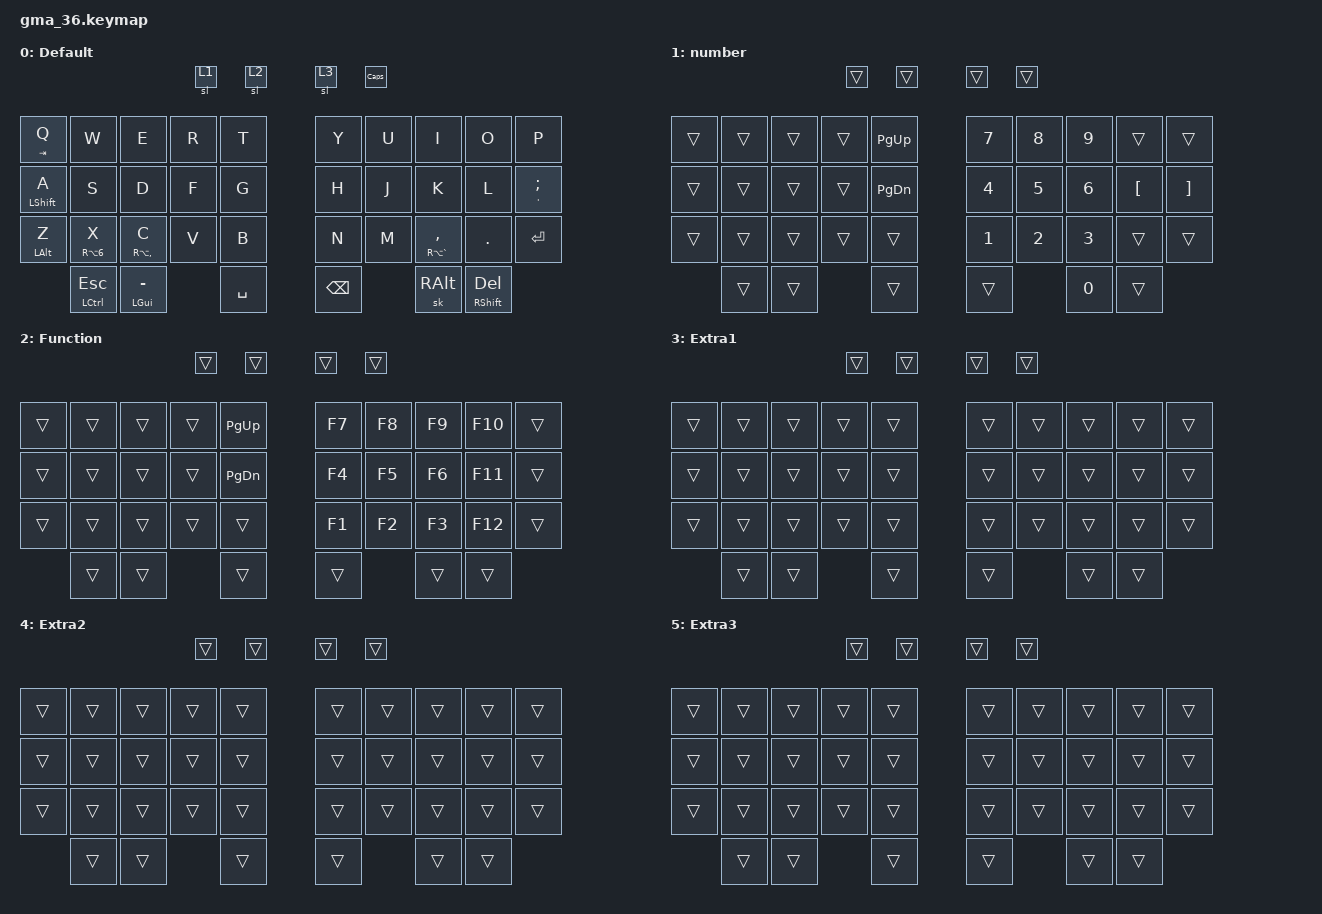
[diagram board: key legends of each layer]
#include <behaviors.dtsi>
#include <dt-bindings/zmk/keys.h>
#include <dt-bindings/zmk/bt.h>


#define COMBO(NAME, BINDINGS, KEYPOS) \
  combo_##NAME { \
    timeout-ms = <50>; \
    bindings = <BINDINGS>; \
    key-positions = <KEYPOS>; \
    layers = <0>; \
  };

/ {

        behaviors {
                hm: homerow_mods {
                        compatible = "zmk,behavior-hold-tap";
                        label = "HOMEROW_MODS";
                        #binding-cells = <2>;
                        tapping_term_ms = <190>;
                        quick-tap-ms = <175>;
                        flavor = "tap-preferred";
                        bindings = <&kp>, <&kp>;
                };
        };

        combos {
                compatible = "zmk,combos";
                      
                COMBO(up, &kp UP, 6 7)
                COMBO(home, &kp HOME, 5 6)
                COMBO(end, &kp END, 7 8)
                COMBO(dw, &kp LEFT, 15 16)
                COMBO(lf, &kp RIGHT, 17 18)
                COMBO(rt, &kp DOWN, 16 17)
                COMBO(number, &tog 1, 34 35)
                COMBO(Function, &tog 2, 32 37)
     
        };

    keymap {
        compatible = "zmk,keymap";

        default_layer {
            display-name = "Default";

            bindings =<
                &hm TAB Q     &kp W    &kp E       &kp R &kp T                  &kp Y &kp U    &kp I     &kp O    &kp P
                &hm LSHIFT A  &kp S    &kp D       &kp F &kp G                  &kp H &kp J    &kp K     &kp L    &hm APOS SEMI
                &hm LALT Z  &hm RA(N6) X &mt RA(COMMA) C  &kp V &kp B           &kp N &kp M    &hm RA(GRAVE) COMMA &kp DOT  &kp ENTER
                &sl 1    &sl 2    &hm LCTRL ESC  &hm LGUI MINUS &kp SPACE   &kp BSPC &sk RALT &hm RSHIFT DEL     &sl 3 &kp CAPS
            >;
        };

        number_layer {
            display-name = "number";

            bindings =<
                &trans  &trans  &trans  &trans  &kp PG_UP       &kp N7  &kp N8  &kp N9  &trans  &trans
                &trans  &trans  &trans  &trans  &kp PG_DN       &kp N4  &kp N5  &kp N6  &kp LBKT  &kp RBKT
                &trans  &trans  &trans  &trans  &trans          &kp N1  &kp N2  &kp N3  &trans  &trans
                &trans  &trans  &trans  &trans  &trans          &trans  &kp N0  &trans  &trans  &trans
            >;
        };

        function_layer {
            display-name = "Function";

            bindings =<
                &trans  &trans  &trans  &trans  &kp PG_UP       &kp F7  &kp F8  &kp F9  &kp F10  &trans
                &trans  &trans  &trans  &trans  &kp PG_DN       &kp F4  &kp F5  &kp F6  &kp F11  &trans
                &trans  &trans  &trans  &trans  &trans          &kp F1  &kp F2  &kp F3  &kp F12  &trans
                &trans  &trans  &trans  &trans  &trans          &trans  &trans  &trans  &trans  &trans
            >;
        };

        extra_layer1 {
            display-name = "Extra1";

            bindings =<
                &trans  &trans  &trans  &trans  &trans          &trans  &trans  &trans  &trans  &trans
                &trans  &trans  &trans  &trans  &trans          &trans  &trans  &trans  &trans  &trans
                &trans  &trans  &trans  &trans  &trans          &trans  &trans  &trans  &trans  &trans
                &trans  &trans  &trans  &trans  &trans          &trans  &trans  &trans  &trans  &trans
            >;
        };
        extra_layer2 {
            display-name = "Extra2";

            bindings =<
                &trans  &trans  &trans  &trans  &trans          &trans  &trans  &trans  &trans  &trans
                &trans  &trans  &trans  &trans  &trans          &trans  &trans  &trans  &trans  &trans
                &trans  &trans  &trans  &trans  &trans          &trans  &trans  &trans  &trans  &trans
                &trans  &trans  &trans  &trans  &trans          &trans  &trans  &trans  &trans  &trans
            >;
        };
        extra_layer3 {
            display-name = "Extra3";

            bindings =<
                &trans  &trans  &trans  &trans  &trans          &trans  &trans  &trans  &trans  &trans
                &trans  &trans  &trans  &trans  &trans          &trans  &trans  &trans  &trans  &trans
                &trans  &trans  &trans  &trans  &trans          &trans  &trans  &trans  &trans  &trans
                &trans  &trans  &trans  &trans  &trans          &trans  &trans  &trans  &trans  &trans
            >;
        };
    };
};
